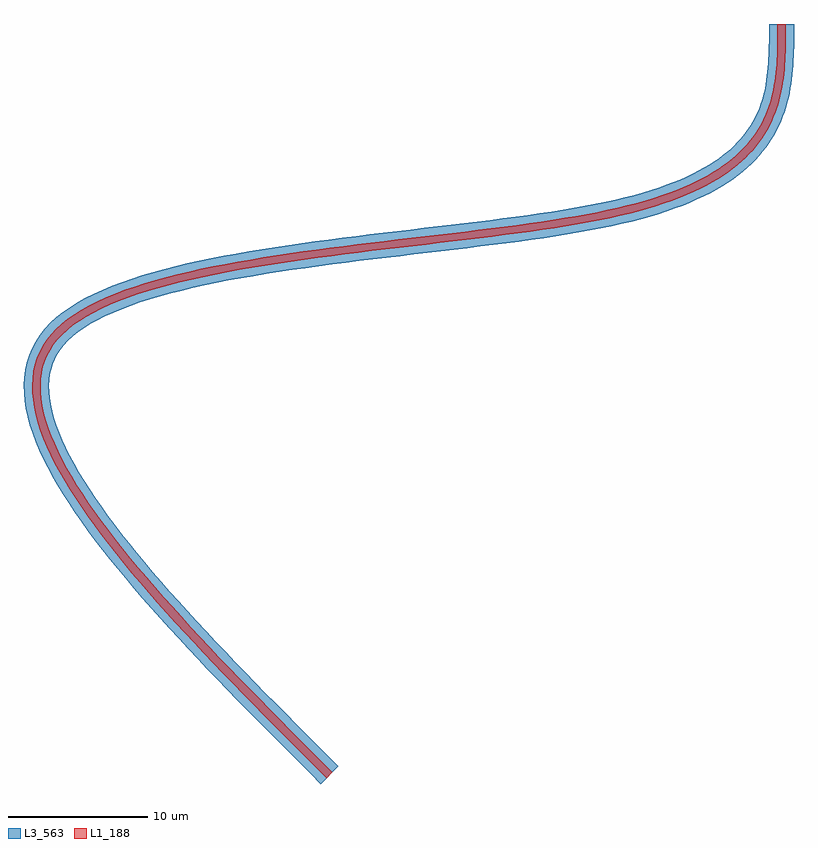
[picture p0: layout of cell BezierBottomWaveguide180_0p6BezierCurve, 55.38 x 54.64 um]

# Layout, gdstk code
import gdstk
lib = gdstk.Library(unit=1e-6, precision=1e-09)
L1_188 = (1, 188)
L3_563 = (3, 563)

bezierbottomwaveguide180 = lib.new_cell('BezierBottomWaveguide180_0p6BezierCurve')
bezierbottomwaveguide180.add(gdstk.FlexPath([(21.492,0),(20.736,0.756),(19.981,1.512),(19.228,2.267),(18.477,3.021),(17.73,3.774),(16.987,4.525),(16.249,5.275),(15.518,6.022),(14.793,6.767),(14.076,7.51),(13.368,8.249),(12.669,8.985),(11.981,9.717),(11.304,10.446),(10.639,11.17),(9.986,11.89),(9.348,12.604),(8.725,13.314),(8.117,14.018),(7.525,14.717),(6.951,15.409),(6.395,16.095),(5.858,16.775),(5.341,17.447),(4.844,18.112),(4.37,18.77),(3.917,19.42),(3.488,20.062),(3.084,20.695),(2.704,21.319),(2.35,21.934),(2.023,22.54),(1.724,23.137),(1.453,23.723),(1.212,24.299),(1.001,24.864),(0.821,25.419),(0.674,25.962),(0.559,26.494),(0.477,27.014),(0.431,27.522),(0.419,28.018),(0.445,28.501),(0.507,28.971),(0.607,29.427),(0.746,29.87),(0.926,30.299),(1.145,30.714),(1.406,31.114),(1.71,31.5),(1.71,31.5),(2.057,31.87),(2.445,32.226),(2.873,32.568),(3.341,32.896),(3.846,33.21),(4.388,33.511),(4.963,33.8),(5.573,34.077),(6.214,34.342),(6.885,34.596),(7.585,34.839),(8.313,35.072),(9.067,35.295),(9.846,35.508),(10.648,35.712),(11.472,35.908),(12.316,36.095),(13.179,36.274),(14.06,36.447),(14.957,36.612),(15.869,36.771),(16.794,36.924),(17.73,37.071),(18.677,37.213),(19.634,37.35),(20.597,37.483),(21.567,37.612),(22.541,37.738),(23.519,37.86),(24.499,37.98),(25.479,38.098),(26.458,38.214),(27.435,38.329),(28.407,38.443),(29.375,38.556),(30.336,38.669),(31.288,38.783),(32.231,38.898),(33.163,39.014),(34.083,39.132),(34.989,39.252),(35.879,39.374),(36.753,39.5),(37.609,39.629),(38.445,39.762),(39.26,39.899),(40.053,40.041),(40.821,40.188),(41.565,40.341),(42.282,40.5),(42.282,40.5),(42.971,40.665),(43.633,40.837),(44.267,41.015),(44.875,41.198),(45.458,41.388),(46.015,41.584),(46.547,41.785),(47.055,41.992),(47.539,42.205),(48,42.422),(48.439,42.645),(48.856,42.873),(49.252,43.106),(49.626,43.344),(49.981,43.586),(50.315,43.833),(50.631,44.084),(50.928,44.34),(51.207,44.599),(51.469,44.863),(51.714,45.131),(51.942,45.402),(52.155,45.677),(52.352,45.956),(52.535,46.238),(52.704,46.523),(52.859,46.811),(53.002,47.102),(53.132,47.396),(53.25,47.693),(53.357,47.992),(53.453,48.294),(53.539,48.598),(53.616,48.904),(53.684,49.213),(53.743,49.523),(53.794,49.835),(53.838,50.149),(53.875,50.465),(53.906,50.782),(53.932,51.1),(53.952,51.419),(53.968,51.739),(53.98,52.061),(53.988,52.383),(53.994,52.705),(53.997,53.029),(53.999,53.352),(54,53.676),(54,54)], 0.6, ends="flush", simple_path=True, layer=1, datatype=188))  # L1_188
bezierbottomwaveguide180.add(gdstk.FlexPath([(21.492,0),(20.736,0.756),(19.981,1.512),(19.228,2.267),(18.477,3.021),(17.73,3.774),(16.987,4.525),(16.249,5.275),(15.518,6.022),(14.793,6.767),(14.076,7.51),(13.368,8.249),(12.669,8.985),(11.981,9.717),(11.304,10.446),(10.639,11.17),(9.986,11.89),(9.348,12.604),(8.725,13.314),(8.117,14.018),(7.525,14.717),(6.951,15.409),(6.395,16.095),(5.858,16.775),(5.341,17.447),(4.844,18.112),(4.37,18.77),(3.917,19.42),(3.488,20.062),(3.084,20.695),(2.704,21.319),(2.35,21.934),(2.023,22.54),(1.724,23.137),(1.453,23.723),(1.212,24.299),(1.001,24.864),(0.821,25.419),(0.674,25.962),(0.559,26.494),(0.477,27.014),(0.431,27.522),(0.419,28.018),(0.445,28.501),(0.507,28.971),(0.607,29.427),(0.746,29.87),(0.926,30.299),(1.145,30.714),(1.406,31.114),(1.71,31.5),(1.71,31.5),(2.057,31.87),(2.445,32.226),(2.873,32.568),(3.341,32.896),(3.846,33.21),(4.388,33.511),(4.963,33.8),(5.573,34.077),(6.214,34.342),(6.885,34.596),(7.585,34.839),(8.313,35.072),(9.067,35.295),(9.846,35.508),(10.648,35.712),(11.472,35.908),(12.316,36.095),(13.179,36.274),(14.06,36.447),(14.957,36.612),(15.869,36.771),(16.794,36.924),(17.73,37.071),(18.677,37.213),(19.634,37.35),(20.597,37.483),(21.567,37.612),(22.541,37.738),(23.519,37.86),(24.499,37.98),(25.479,38.098),(26.458,38.214),(27.435,38.329),(28.407,38.443),(29.375,38.556),(30.336,38.669),(31.288,38.783),(32.231,38.898),(33.163,39.014),(34.083,39.132),(34.989,39.252),(35.879,39.374),(36.753,39.5),(37.609,39.629),(38.445,39.762),(39.26,39.899),(40.053,40.041),(40.821,40.188),(41.565,40.341),(42.282,40.5),(42.282,40.5),(42.971,40.665),(43.633,40.837),(44.267,41.015),(44.875,41.198),(45.458,41.388),(46.015,41.584),(46.547,41.785),(47.055,41.992),(47.539,42.205),(48,42.422),(48.439,42.645),(48.856,42.873),(49.252,43.106),(49.626,43.344),(49.981,43.586),(50.315,43.833),(50.631,44.084),(50.928,44.34),(51.207,44.599),(51.469,44.863),(51.714,45.131),(51.942,45.402),(52.155,45.677),(52.352,45.956),(52.535,46.238),(52.704,46.523),(52.859,46.811),(53.002,47.102),(53.132,47.396),(53.25,47.693),(53.357,47.992),(53.453,48.294),(53.539,48.598),(53.616,48.904),(53.684,49.213),(53.743,49.523),(53.794,49.835),(53.838,50.149),(53.875,50.465),(53.906,50.782),(53.932,51.1),(53.952,51.419),(53.968,51.739),(53.98,52.061),(53.988,52.383),(53.994,52.705),(53.997,53.029),(53.999,53.352),(54,53.676),(54,54)], 1.8, ends="flush", simple_path=True, layer=3, datatype=563))  # L3_563

lib.write_gds('BezierBottomWaveguide180_0p6BezierCurve.gds')
